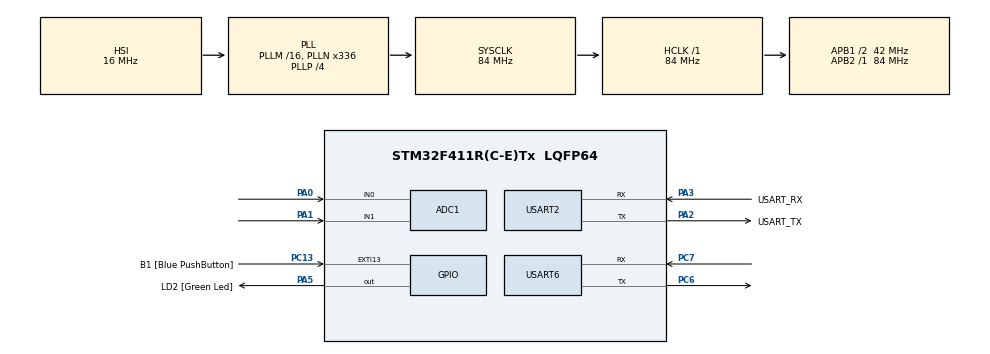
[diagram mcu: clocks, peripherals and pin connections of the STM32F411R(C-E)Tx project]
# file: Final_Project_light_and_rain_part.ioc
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ADC1.Channel-0\#ChannelRegularConversion=ADC_CHANNEL_0
ADC1.Channel-1\#ChannelRegularConversion=ADC_CHANNEL_1
ADC1.ContinuousConvMode=ENABLE
ADC1.NbrOfConversion=2
ADC1.NbrOfConversionFlag=1
ADC1.Rank-0\#ChannelRegularConversion=1
ADC1.Rank-1\#ChannelRegularConversion=2
ADC1.SamplingTime-0\#ChannelRegularConversion=ADC_SAMPLETIME_3CYCLES
ADC1.SamplingTime-1\#ChannelRegularConversion=ADC_SAMPLETIME_3CYCLES
ADC1.ScanConvMode=ENABLE
ADC1.master=1
Mcu.Family=STM32F4
Mcu.Name=STM32F411R(C-E)Tx
Mcu.Package=LQFP64
NVIC.PriorityGroup=NVIC_PRIORITYGROUP_0
NVIC.USART6_IRQn=true\:0\:0\:false\:false\:true\:true\:true
PA0-WKUP.Signal=ADCx_IN0
PA1.Signal=ADCx_IN1
PA13.GPIO_Label=TMS
PA13.Mode=Serial_Wire
PA13.Signal=SYS_JTMS-SWDIO
PA14.GPIO_Label=TCK
PA14.Mode=Serial_Wire
PA14.Signal=SYS_JTCK-SWCLK
PA2.GPIO_Label=USART_TX
PA2.Mode=Asynchronous
PA2.Signal=USART2_TX
PA3.GPIO_Label=USART_RX
PA3.Mode=Asynchronous
PA3.Signal=USART2_RX
PA5.GPIO_Label=LD2 [Green Led]
PA5.Signal=GPIO_Output
PB3.GPIO_Label=SWO
PB3.Signal=SYS_JTDO-SWO
PC13-ANTI_TAMP.GPIO_Label=B1 [Blue PushButton]
PC13-ANTI_TAMP.GPIO_ModeDefaultEXTI=GPIO_MODE_IT_FALLING
PC13-ANTI_TAMP.Signal=GPXTI13
PC14-OSC32_IN.Mode=LSE-External-Oscillator
PC14-OSC32_IN.Signal=RCC_OSC32_IN
PC15-OSC32_OUT.Mode=LSE-External-Oscillator
PC15-OSC32_OUT.Signal=RCC_OSC32_OUT
PC6.Mode=Asynchronous
PC6.Signal=USART6_TX
PC7.Mode=Asynchronous
PC7.Signal=USART6_RX
PH0\ -\ OSC_IN.Mode=HSE-External-Clock-Source
PH0\ -\ OSC_IN.Signal=RCC_OSC_IN
PH1\ -\ OSC_OUT.Mode=HSE-External-Clock-Source
PH1\ -\ OSC_OUT.Signal=RCC_OSC_OUT
ProjectManager.HeapSize=0x200
ProjectManager.StackSize=0x400
ProjectManager.TargetToolchain=STM32CubeIDE
RCC.48MHZClocksFreq_Value=84000000
RCC.AHBFreq_Value=84000000
RCC.APB1CLKDivider=RCC_HCLK_DIV2
RCC.APB1Freq_Value=42000000
RCC.APB1TimFreq_Value=84000000
RCC.APB2Freq_Value=84000000
RCC.APB2TimFreq_Value=84000000
RCC.CortexFreq_Value=84000000
RCC.FLatency-AdvancedSettings=FLASH_LATENCY_2
RCC.HCLKFreq_Value=84000000
RCC.HSE_VALUE=8000000
RCC.HSI_VALUE=16000000
RCC.PLLN=336
RCC.PLLP=RCC_PLLP_DIV4
RCC.SYSCLKFreq_VALUE=84000000
RCC.SYSCLKSource=RCC_SYSCLKSOURCE_PLLCLK
RCC.VCOOutputFreq_Value=336000000
SH.ADCx_IN0.0=ADC1_IN0,IN0
SH.ADCx_IN1.0=ADC1_IN1,IN1
USART2.VirtualMode=VM_ASYNC
USART6.VirtualMode=VM_ASYNC
board=NUCLEO-F411RE

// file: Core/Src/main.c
/* USER CODE BEGIN Header */
/**
  ******************************************************************************
  * @file           : main.c
  * @brief          : Main program body
  ******************************************************************************
  * @attention
  *
  * <h2><center>&copy; Copyright (c) 2021 STMicroelectronics.
  * All rights reserved.</center></h2>
  *
  * This software component is licensed by ST under BSD 3-Clause license,
  * the "License"; You may not use this file except in compliance with the
  * License. You may obtain a copy of the License at:
  *                        opensource.org/licenses/BSD-3-Clause
  *
  ******************************************************************************
  */
/* USER CODE END Header */
#include "main.h"

ADC_HandleTypeDef hadc1;

UART_HandleTypeDef huart2;
UART_HandleTypeDef huart6;

void SystemClock_Config(void);
static void MX_GPIO_Init(void);
static void MX_USART2_UART_Init(void);
static void MX_ADC1_Init(void);
static void MX_USART6_UART_Init(void);

/* USER CODE BEGIN 0 */
uint32_t adcValue0 = 0;
uint16_t adcValue1 = 0;

void ADC_Select_CH0(void){
   	 ADC_ChannelConfTypeDef sConfig = {0};
	 /** Configure for the selected ADC regular channel its corresponding rank in the sequencer and its sample time.
	  */
	  sConfig.Channel = ADC_CHANNEL_0;
	  sConfig.Rank = 1;
	  sConfig.SamplingTime = ADC_SAMPLETIME_28CYCLES;
	  if (HAL_ADC_ConfigChannel(&hadc1, &sConfig) != HAL_OK)
	  {
	    Error_Handler();
	  }
}

void ADC_Select_CH1(void){
	  ADC_ChannelConfTypeDef sConfig = {0};
	  /** Configure for the selected ADC regular channel its corresponding rank in the sequencer and its sample time.
	  */
	  sConfig.Channel = ADC_CHANNEL_1;
	  sConfig.Rank = 1;
	  sConfig.SamplingTime = ADC_SAMPLETIME_84CYCLES;
	  if (HAL_ADC_ConfigChannel(&hadc1, &sConfig) != HAL_OK)
	  {
	  }
}
/* USER CODE END 0 */

int main(void)
{

  /* MCU Configuration--------------------------------------------------------*/

  /* Reset of all peripherals, Initializes the Flash interface and the Systick. */
  HAL_Init();

  /* Configure the system clock */
  SystemClock_Config();

  /* Initialize all configured peripherals */
  MX_GPIO_Init();
  MX_USART2_UART_Init();
  MX_ADC1_Init();
  MX_USART6_UART_Init();
  /* USER CODE BEGIN 2 */
  //check active from user.*************************************************************
  /* USER CODE END 2 */

  /* Infinite loop */
  while (1)
  {

    /* USER CODE BEGIN 3 */

	  //get data from node mcu

	  ADC_Select_CH0();
	  HAL_ADC_Start(&hadc1);
	  if(HAL_ADC_PollForConversion(&hadc1, 100) == HAL_OK){
	 	   adcValue0 = HAL_ADC_GetValue(&hadc1);
	  }
	  char buffer[32];
	  sprintf(buffer,"%d \n \r",adcValue0);
	  HAL_UART_Transmit(&huart2, buffer, strlen(buffer), 100);
	  HAL_ADC_Stop(&hadc1);

	  ADC_Select_CH1();
	  HAL_ADC_Start(&hadc1);
	  	  if(HAL_ADC_PollForConversion(&hadc1, 100) == HAL_OK){
	  	 	   adcValue1 = HAL_ADC_GetValue(&hadc1);
	  	  }
	  	  char buffer2[32];
	  	  sprintf(buffer2,"%d \n \r",adcValue1);
	  HAL_UART_Transmit(&huart2, buffer2, strlen(buffer2), 100);
	  HAL_ADC_Stop(&hadc1);
	  //HAL_Delay(100);

	  //led on -> roof close
	  //value0 is ldr, the more, the darker. value1 is rain, the more, the heavier rain.
	  //rain green led lit, sun shine and rain stop green led out, no sun shine green led lit
	  if(adcValue1<=3600 && adcValue0<1000){ // no rain and sun shine
		  HAL_GPIO_WritePin(GPIOA, GPIO_PIN_5 , GPIO_PIN_RESET); // roof open
		  HAL_UART_Transmit(&huart6, buffer, strlen(buffer), 100); //roof open , rain
		  HAL_UART_Transmit(&huart6, buffer2, strlen(buffer2), 100);// light
	  }
	  if(adcValue0>=1000 || adcValue1>3600){// rain or no sun shine
		  HAL_GPIO_WritePin(GPIOA, GPIO_PIN_5 , GPIO_PIN_SET); // roof close
		  HAL_UART_Transmit(&huart6, buffer, strlen(buffer), 100); //roof close , rain
		  HAL_UART_Transmit(&huart6, buffer2, strlen(buffer2), 100);// light
	  }

	  HAL_Delay(1000);
  }
  /* USER CODE END 3 */
}

void SystemClock_Config(void)
{
  RCC_OscInitTypeDef RCC_OscInitStruct = {0};
  RCC_ClkInitTypeDef RCC_ClkInitStruct = {0};

  /** Configure the main internal regulator output voltage
  */
  __HAL_RCC_PWR_CLK_ENABLE();
  __HAL_PWR_VOLTAGESCALING_CONFIG(PWR_REGULATOR_VOLTAGE_SCALE1);
  /** Initializes the RCC Oscillators according to the specified parameters
  * in the RCC_OscInitTypeDef structure.
  */
  RCC_OscInitStruct.OscillatorType = RCC_OSCILLATORTYPE_HSI;
  RCC_OscInitStruct.HSIState = RCC_HSI_ON;
  RCC_OscInitStruct.HSICalibrationValue = RCC_HSICALIBRATION_DEFAULT;
  RCC_OscInitStruct.PLL.PLLState = RCC_PLL_ON;
  RCC_OscInitStruct.PLL.PLLSource = RCC_PLLSOURCE_HSI;
  RCC_OscInitStruct.PLL.PLLM = 16;
  RCC_OscInitStruct.PLL.PLLN = 336;
  RCC_OscInitStruct.PLL.PLLP = RCC_PLLP_DIV4;
  RCC_OscInitStruct.PLL.PLLQ = 4;
  if (HAL_RCC_OscConfig(&RCC_OscInitStruct) != HAL_OK)
  {
    Error_Handler();
  }
  /** Initializes the CPU, AHB and APB buses clocks
  */
  RCC_ClkInitStruct.ClockType = RCC_CLOCKTYPE_HCLK|RCC_CLOCKTYPE_SYSCLK
                              |RCC_CLOCKTYPE_PCLK1|RCC_CLOCKTYPE_PCLK2;
  RCC_ClkInitStruct.SYSCLKSource = RCC_SYSCLKSOURCE_PLLCLK;
  RCC_ClkInitStruct.AHBCLKDivider = RCC_SYSCLK_DIV1;
  RCC_ClkInitStruct.APB1CLKDivider = RCC_HCLK_DIV2;
  RCC_ClkInitStruct.APB2CLKDivider = RCC_HCLK_DIV1;

  if (HAL_RCC_ClockConfig(&RCC_ClkInitStruct, FLASH_LATENCY_2) != HAL_OK)
  {
    Error_Handler();
  }
}

static void MX_ADC1_Init(void)
{

  ADC_ChannelConfTypeDef sConfig = {0};

  /** Configure the global features of the ADC (Clock, Resolution, Data Alignment and number of conversion)
  */
  hadc1.Instance = ADC1;
  hadc1.Init.ClockPrescaler = ADC_CLOCK_SYNC_PCLK_DIV4;
  hadc1.Init.Resolution = ADC_RESOLUTION_12B;
  hadc1.Init.ScanConvMode = ENABLE;
  hadc1.Init.ContinuousConvMode = ENABLE;
  hadc1.Init.DiscontinuousConvMode = DISABLE;
  hadc1.Init.ExternalTrigConvEdge = ADC_EXTERNALTRIGCONVEDGE_NONE;
  hadc1.Init.ExternalTrigConv = ADC_SOFTWARE_START;
  hadc1.Init.DataAlign = ADC_DATAALIGN_RIGHT;
  hadc1.Init.NbrOfConversion = 2;
  hadc1.Init.DMAContinuousRequests = DISABLE;
  hadc1.Init.EOCSelection = ADC_EOC_SINGLE_CONV;
  if (HAL_ADC_Init(&hadc1) != HAL_OK)
  {
    Error_Handler();
  }
  /** Configure for the selected ADC regular channel its corresponding rank in the sequencer and its sample time.
  */
  sConfig.Channel = ADC_CHANNEL_0;
  sConfig.Rank = 1;
  sConfig.SamplingTime = ADC_SAMPLETIME_3CYCLES;
  if (HAL_ADC_ConfigChannel(&hadc1, &sConfig) != HAL_OK)
  {
    Error_Handler();
  }
  /** Configure for the selected ADC regular channel its corresponding rank in the sequencer and its sample time.
  */
  sConfig.Channel = ADC_CHANNEL_1;
  sConfig.Rank = 2;
  if (HAL_ADC_ConfigChannel(&hadc1, &sConfig) != HAL_OK)
  {
    Error_Handler();
  }

}

static void MX_USART2_UART_Init(void)
{

  huart2.Instance = USART2;
  huart2.Init.BaudRate = 115200;
  huart2.Init.WordLength = UART_WORDLENGTH_8B;
  huart2.Init.StopBits = UART_STOPBITS_1;
  huart2.Init.Parity = UART_PARITY_NONE;
  huart2.Init.Mode = UART_MODE_TX_RX;
  huart2.Init.HwFlowCtl = UART_HWCONTROL_NONE;
  huart2.Init.OverSampling = UART_OVERSAMPLING_16;
  if (HAL_UART_Init(&huart2) != HAL_OK)
  {
    Error_Handler();
  }

}

static void MX_USART6_UART_Init(void)
{

  huart6.Instance = USART6;
  huart6.Init.BaudRate = 115200;
  huart6.Init.WordLength = UART_WORDLENGTH_8B;
  huart6.Init.StopBits = UART_STOPBITS_1;
  huart6.Init.Parity = UART_PARITY_NONE;
  huart6.Init.Mode = UART_MODE_TX_RX;
  huart6.Init.HwFlowCtl = UART_HWCONTROL_NONE;
  huart6.Init.OverSampling = UART_OVERSAMPLING_16;
  if (HAL_UART_Init(&huart6) != HAL_OK)
  {
    Error_Handler();
  }

}

static void MX_GPIO_Init(void)
{
  GPIO_InitTypeDef GPIO_InitStruct = {0};

  /* GPIO Ports Clock Enable */
  __HAL_RCC_GPIOC_CLK_ENABLE();
  __HAL_RCC_GPIOH_CLK_ENABLE();
  __HAL_RCC_GPIOA_CLK_ENABLE();
  __HAL_RCC_GPIOB_CLK_ENABLE();

  /*Configure GPIO pin Output Level */
  HAL_GPIO_WritePin(LD2_GPIO_Port, LD2_Pin, GPIO_PIN_RESET);

  /*Configure GPIO pin : B1_Pin */
  GPIO_InitStruct.Pin = B1_Pin;
  GPIO_InitStruct.Mode = GPIO_MODE_IT_FALLING;
  GPIO_InitStruct.Pull = GPIO_NOPULL;
  HAL_GPIO_Init(B1_GPIO_Port, &GPIO_InitStruct);

  /*Configure GPIO pin : LD2_Pin */
  GPIO_InitStruct.Pin = LD2_Pin;
  GPIO_InitStruct.Mode = GPIO_MODE_OUTPUT_PP;
  GPIO_InitStruct.Pull = GPIO_NOPULL;
  GPIO_InitStruct.Speed = GPIO_SPEED_FREQ_LOW;
  HAL_GPIO_Init(LD2_GPIO_Port, &GPIO_InitStruct);

}

void Error_Handler(void)
{
  __disable_irq();
  while (1)
  {
  }
}

/************************ (C) COPYRIGHT STMicroelectronics *****END OF FILE****/
